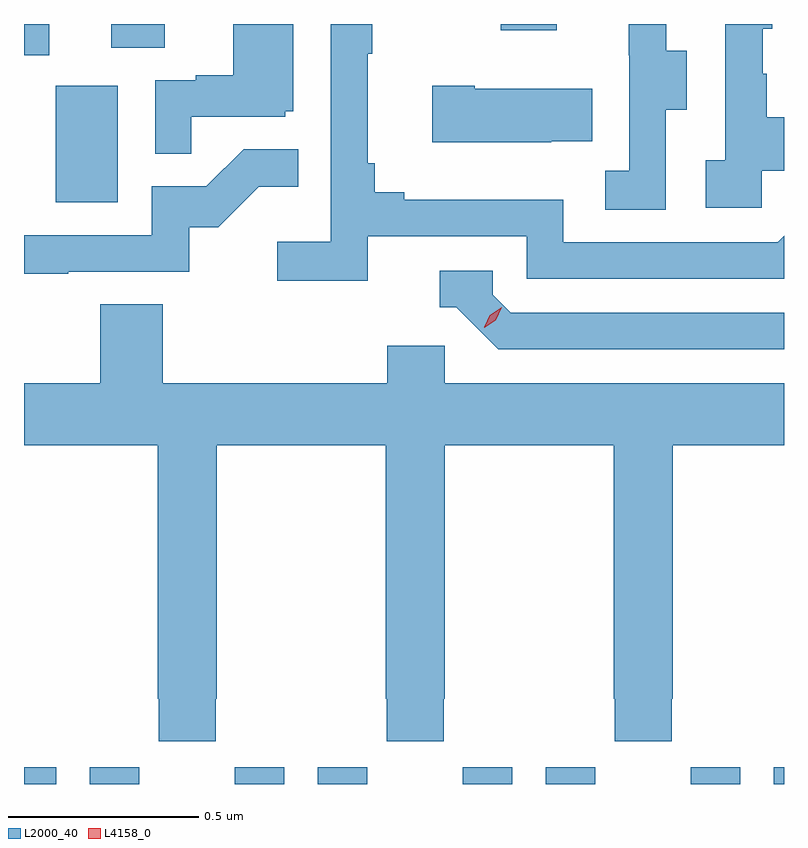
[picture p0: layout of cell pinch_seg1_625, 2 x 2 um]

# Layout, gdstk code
import gdstk
lib = gdstk.Library(unit=1e-6, precision=1e-09)
def R(c, l, rs):  # rectangles x0, y0, x1, y1
    for r in rs: c.add(gdstk.rectangle(r[:2], r[2:], *l))
def P(c, l, *ps):  # polygons
    for p in ps: c.add(gdstk.Polygon(p, *l))
L2000_40 = (2000, 40)
L4158_0 = (4158, 0)

pinch_seg1_625 = lib.new_cell('pinch_seg1_625')
R(pinch_seg1_625, L2000_40, [(1126.275,502.889,1126.36,502.933), (1126.448,502.889,1126.578,502.933), (1126.83,502.889,1126.96,502.933), (1127.048,502.889,1127.178,502.933), (1127.43,502.889,1127.56,502.933), (1127.648,502.889,1127.778,502.933), (1128.03,502.889,1128.16,502.933), (1128.248,502.889,1128.275,502.933), (1126.358,504.42,1126.522,504.727), (1126.275,504.807,1126.342,504.889), (1126.505,504.826,1126.645,504.889), (1127.53,504.873,1127.677,504.889)])
P(pinch_seg1_625, L2000_40, [(1128.216,504.503),(1128.275,504.503),(1128.275,504.643),(1128.229,504.643),(1128.229,504.758),(1128.219,504.758),(1128.219,504.876),(1128.244,504.876),(1128.244,504.889),(1128.12,504.889),(1128.12,504.53),(1128.069,504.53),(1128.069,504.405),(1128.216,504.405)],
  [(1127.18,504.33),(1127.598,504.33),(1127.598,504.219),(1128.275,504.219),(1128.275,504.332),(1128.258,504.315),(1127.694,504.315),(1127.694,504.427),(1127.275,504.427),(1127.275,504.446),(1127.198,504.446),(1127.198,504.523),(1127.179,504.523),(1127.179,504.811),(1127.191,504.811),(1127.191,504.889),(1127.082,504.889),(1127.082,504.316),(1126.941,504.316),(1126.941,504.214),(1127.18,504.214)],
  [(1126.715,504.645),(1126.962,504.645),(1126.962,504.66),(1126.984,504.66),(1126.984,504.889),(1126.826,504.889),(1126.826,504.754),(1126.727,504.754),(1126.727,504.741),(1126.62,504.741),(1126.62,504.547),(1126.715,504.547)],
  [(1127.964,504.664),(1128.019,504.664),(1128.019,504.819),(1127.965,504.819),(1127.965,504.889),(1127.867,504.889),(1127.867,504.807),(1127.868,504.807),(1127.868,504.503),(1127.805,504.503),(1127.805,504.4),(1127.964,504.4)],
  [(1127.663,504.581),(1127.771,504.581),(1127.771,504.718),(1127.461,504.718),(1127.461,504.726),(1127.349,504.726),(1127.349,504.578),(1127.663,504.578)],
  [(1126.391,504.237),(1126.71,504.237),(1126.71,504.354),(1126.786,504.354),(1126.893,504.461),(1126.997,504.461),(1126.997,504.56),(1126.853,504.56),(1126.755,504.462),(1126.611,504.462),(1126.611,504.333),(1126.275,504.333),(1126.275,504.232),(1126.391,504.232)],
  [(1128.275,504.129),(1127.556,504.129),(1127.508,504.177),(1127.508,504.24),(1127.369,504.24),(1127.369,504.144),(1127.412,504.144),(1127.523,504.033),(1128.275,504.033)],
  [(1127.382,504.042),(1127.231,504.042),(1127.231,503.944),(1126.64,503.944),(1126.64,504.152),(1126.475,504.152),(1126.475,503.944),(1126.275,503.944),(1126.275,503.78),(1126.627,503.78),(1126.627,503.113),(1126.629,503.113),(1126.629,503.001),(1126.779,503.001),(1126.779,503.113),(1126.782,503.113),(1126.782,503.78),(1127.227,503.78),(1127.227,503.113),(1127.229,503.113),(1127.229,503.001),(1127.379,503.001),(1127.379,503.113),(1127.382,503.113),(1127.382,503.78),(1127.827,503.78),(1127.827,503.113),(1127.829,503.113),(1127.829,503.001),(1127.979,503.001),(1127.979,503.113),(1127.982,503.113),(1127.982,503.78),(1128.275,503.78),(1128.275,503.944),(1127.382,503.944)])
P(pinch_seg1_625, L4158_0, [(1127.486,504.09),(1127.486,504.091),(1127.501,504.123),(1127.532,504.143),(1127.532,504.143),(1127.532,504.143),(1127.516,504.11),(1127.486,504.09)])

lib.write_gds('pinch_seg1_625.gds')
